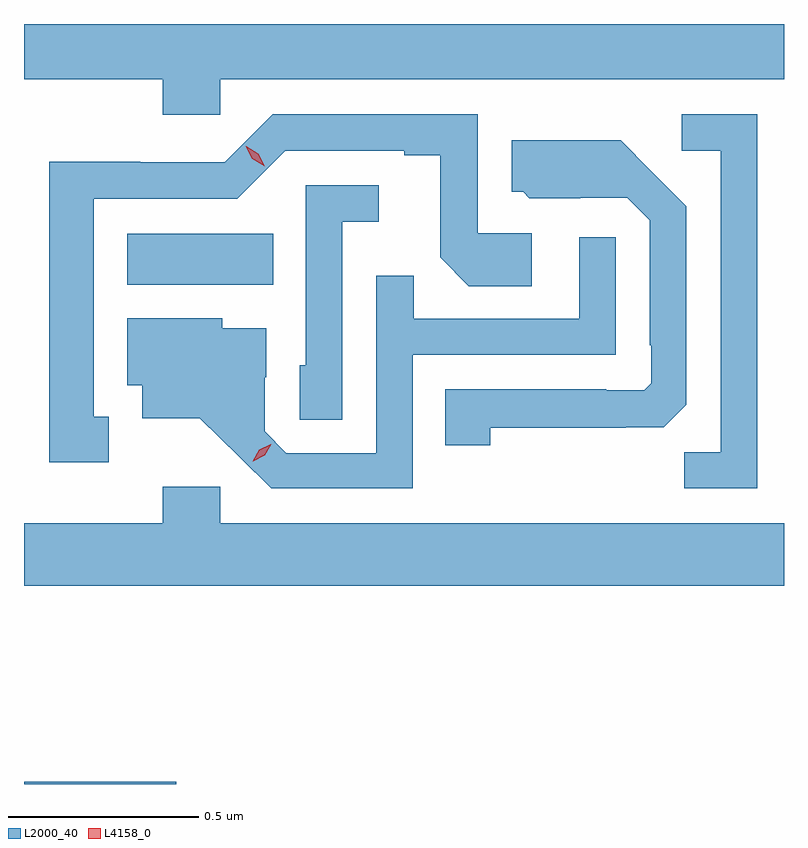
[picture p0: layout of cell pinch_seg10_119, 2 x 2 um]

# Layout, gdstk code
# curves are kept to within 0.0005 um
import gdstk
lib = gdstk.Library(unit=1e-6, precision=1e-09)
def R(c, l, rs):  # rectangles x0, y0, x1, y1
    for r in rs: c.add(gdstk.rectangle(r[:2], r[2:], *l))
def P(c, l, *ps):  # polygons
    for p in ps: c.add(gdstk.Polygon(p, *l))
L2000_40 = (2000, 40)
L4158_0 = (4158, 0)

pinch_seg10_119 = lib.new_cell('pinch_seg10_119')
R(pinch_seg10_119, L2000_40, [(645.48,1307.786,645.88,1307.792), (645.752,1309.1,646.136,1309.234)])
P(pinch_seg10_119, L2000_40, [(645.48,1309.64),(645.845,1309.64),(645.845,1309.547),(645.996,1309.547),(645.996,1309.64),(647.48,1309.64),(647.48,1309.786),(645.48,1309.786)],
  [(645.703,1308.753),(645.664,1308.753),(645.664,1309.326),(646.041,1309.326),(646.167,1309.452),(646.481,1309.452),(646.481,1309.44),(646.575,1309.44),(646.575,1309.172),(646.651,1309.096),(646.816,1309.096),(646.816,1309.236),(646.674,1309.236),(646.674,1309.548),(646.134,1309.548),(646.008,1309.422),(645.786,1309.422),(645.786,1309.424),(645.546,1309.424),(645.546,1308.633),(645.703,1308.633)],
  [(647.409,1309.548),(647.211,1309.548),(647.211,1309.452),(647.313,1309.452),(647.313,1308.659),(647.218,1308.659),(647.218,1308.564),(647.409,1308.564)],
  [(646.707,1308.724),(647.063,1308.724),(647.063,1308.725),(647.164,1308.725),(647.223,1308.784),(647.223,1309.306),(647.051,1309.48),(646.763,1309.48),(646.763,1309.344),(646.794,1309.344),(646.81,1309.328),(646.944,1309.328),(646.944,1309.329),(647.067,1309.329),(647.127,1309.269),(647.127,1308.94),(647.13,1308.94),(647.13,1308.84),(647.112,1308.822),(647.012,1308.822),(647.012,1308.825),(646.588,1308.825),(646.588,1308.678),(646.707,1308.678)],
  [(646.317,1309.265),(646.414,1309.265),(646.414,1309.362),(646.221,1309.362),(646.221,1308.888),(646.206,1308.888),(646.206,1308.745),(646.317,1308.745)],
  [(646.503,1308.915),(647.037,1308.915),(647.037,1309.225),(646.941,1309.225),(646.941,1309.011),(646.505,1309.011),(646.505,1309.124),(646.407,1309.124),(646.407,1308.657),(646.17,1308.657),(646.113,1308.714),(646.113,1308.856),(646.117,1308.856),(646.117,1308.985),(646.002,1308.985),(646.002,1309.012),(645.752,1309.012),(645.752,1308.836),(645.791,1308.836),(645.791,1308.749),(645.943,1308.749),(646.13,1308.564),(646.503,1308.564)],
  [(647.48,1308.472),(645.996,1308.472),(645.996,1308.568),(645.845,1308.568),(645.845,1308.472),(645.48,1308.472),(645.48,1308.308),(647.48,1308.308)])
P(pinch_seg10_119, L4158_0, [(646.082,1308.635),(646.082,1308.636),(646.099,1308.665),(646.129,1308.68),(646.13,1308.68),(646.13,1308.68),(646.113,1308.651),(646.083,1308.635)],
  [(646.113,1309.412),(646.081,1309.431),(646.064,1309.464),(646.064,1309.464),(646.065,1309.464),(646.096,1309.445),(646.113,1309.412),(646.113,1309.412)])

lib.write_gds('pinch_seg10_119.gds')
